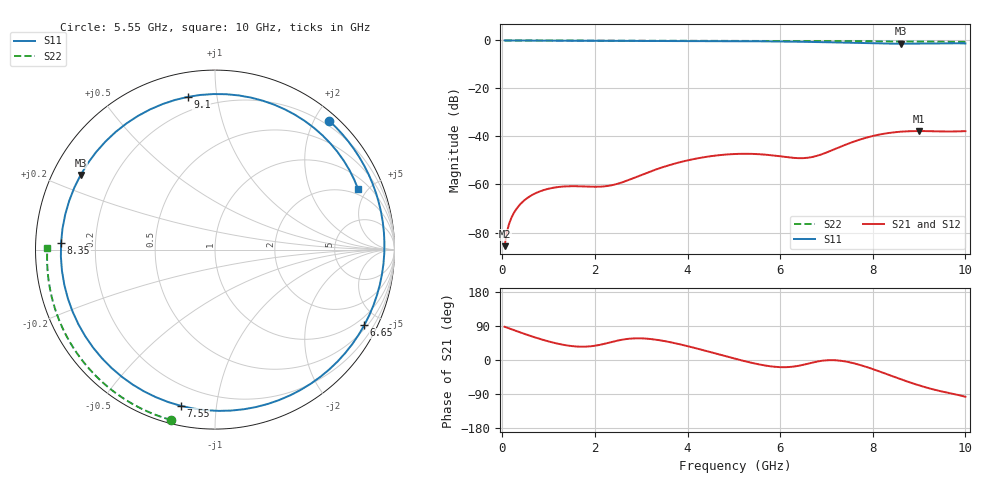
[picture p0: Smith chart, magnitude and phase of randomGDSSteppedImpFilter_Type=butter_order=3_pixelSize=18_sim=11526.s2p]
! freq	dB(S11)	phase(S11)	dB(S12)	phase(S12)
!  dB(S21)	phase(S21)	dB(S22)	phase(S22)
!S-par simulation data
#  GHz  S  DB  R 50
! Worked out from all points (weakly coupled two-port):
!   200 points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, 50 MHz to 10 GHz, reference 50 ohm
!   highest |S21| = -37.74 dB at 9 GHz (marker M1); lowest = -85.7 dB at 50 MHz (marker M2)
!   lowest |S11| = -1.3 dB at 8.6 GHz (marker M3), VSWR 12.92, Z = 4.13 + j12.8 ohm
!   |S11| at or under -10 dB: nowhere
!   |S22| runs from -0.6 to 0.0 dB; largest |S21 - S12| = 0
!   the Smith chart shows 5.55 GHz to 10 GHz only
!   S11 on the Smith chart (normalised r, x): 5.55 GHz: 0.12, +2.22; 6.65 GHz: 0.63, -4.09; 7.55 GHz: 0.09, -0.80; 8.35 GHz: 0.08, +0.02; 9.1 GHz: 0.12, +0.83; 10 GHz: 1.62, +4.35
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0.05  -0.00 -3.5  -85.69 87.7  -85.69 87.7  -0.00 -1.0
0.3  -0.03 -20.9  -70.32 76.6  -70.32 76.6  -0.01 -6.1
0.6  -0.06 -41.4  -64.87 63.9  -64.87 63.9  -0.02 -12.2
1.15  -0.09 -76.9  -61.20 44.4  -61.20 44.4  -0.03 -23.2
1.75  -0.12 -112.2  -60.81 35.1  -60.81 35.1  -0.04 -35.1
2.6  -0.16 -157.0  -59.02 53.8  -59.02 53.8  -0.07 -51.5
3.4  -0.19 163.6  -53.21 52.1  -53.21 52.1  -0.09 -66.5
4.3  -0.24 118.7  -48.81 27.2  -48.81 27.2  -0.12 -82.8
5.05  -0.30 78.1  -47.27 2.6  -47.27 2.6  -0.15 -95.9
5.55  -0.36 48.4  -47.39 -11.8  -47.39 -11.8  -0.17 -104.4
6.15  -0.47 9.2  -48.63 -18.8  -48.63 -18.8  -0.21 -114.5
6.65  -0.61 -26.9  -48.71 -8.2  -48.71 -8.2  -0.24 -122.8
6.7  -0.63 -30.7  -48.52 -6.7  -48.52 -6.7  -0.24 -123.7
7.15  -0.81 -66.9  -45.50 -0.4  -45.50 -0.4  -0.28 -131.2
7.55  -1.00 -102.4  -42.42 -7.5  -42.42 -7.5  -0.31 -137.8
8  -1.22 -146.2  -39.79 -23.9  -39.79 -23.9  -0.35 -145.4
8.35  -1.32 177.4  -38.53 -39.4  -38.53 -39.4  -0.39 -151.3
8.6  -1.35 151.0  -38.01 -50.5  -38.01 -50.5  -0.42 -155.6
9  -1.29 110.0  -37.74 -67.0  -37.74 -67.0  -0.46 -162.5
9.1  -1.27 100.2  -37.75 -70.7  -37.75 -70.7  -0.48 -164.3
9.5  -1.18 63.5  -37.91 -83.3  -37.91 -83.3  -0.53 -171.4
10  -1.25 23.0  -37.78 -97.0  -37.78 -97.0  -0.59 179.3
